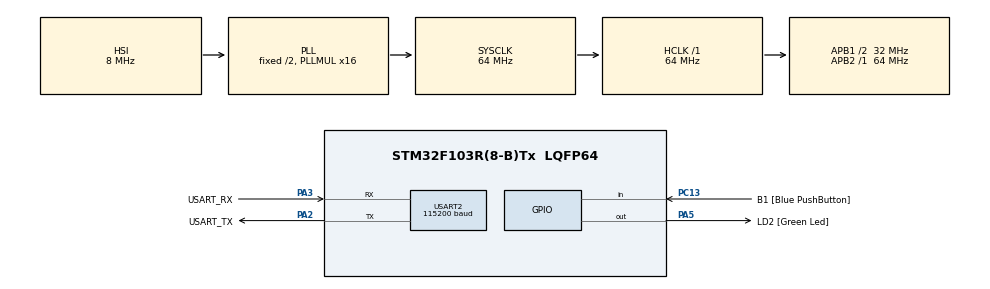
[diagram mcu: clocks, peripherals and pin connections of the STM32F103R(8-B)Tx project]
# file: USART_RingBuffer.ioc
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Mcu.Family=STM32F1
Mcu.Name=STM32F103R(8-B)Tx
Mcu.Package=LQFP64
NVIC.PriorityGroup=NVIC_PRIORITYGROUP_4
NVIC.USART2_IRQn=true\:1\:0\:false\:false\:true\:true\:true\:true
PA13.GPIO_Label=TMS
PA13.Mode=Serial_Wire
PA13.Signal=SYS_JTMS-SWDIO
PA14.GPIO_Label=TCK
PA14.Mode=Serial_Wire
PA14.Signal=SYS_JTCK-SWCLK
PA2.GPIO_Label=USART_TX
PA2.GPIO_Mode=GPIO_MODE_AF_PP
PA2.GPIO_PuPd=GPIO_NOPULL
PA2.GPIO_Speed=GPIO_SPEED_FREQ_LOW
PA2.Mode=Asynchronous
PA2.Signal=USART2_TX
PA3.GPIO_Label=USART_RX
PA3.GPIO_PuPd=GPIO_NOPULL
PA3.GPIO_Speed=GPIO_SPEED_FREQ_LOW
PA3.Mode=Asynchronous
PA3.Signal=USART2_RX
PA5.GPIO_Label=LD2 [Green Led]
PA5.GPIO_ModeDefaultOutputPP=GPIO_MODE_OUTPUT_PP
PA5.GPIO_PuPd=GPIO_NOPULL
PA5.GPIO_Speed=GPIO_SPEED_FREQ_LOW
PA5.Signal=GPIO_Output
PB3.GPIO_Label=SWO
PB3.Signal=SYS_JTDO-TRACESWO
PC13-TAMPER-RTC.GPIO_Label=B1 [Blue PushButton]
PC13-TAMPER-RTC.GPIO_PuPd=GPIO_NOPULL
PC13-TAMPER-RTC.Signal=GPIO_Input
PC14-OSC32_IN.Mode=LSE-External-Oscillator
PC14-OSC32_IN.Signal=RCC_OSC32_IN
PC15-OSC32_OUT.Mode=LSE-External-Oscillator
PC15-OSC32_OUT.Signal=RCC_OSC32_OUT
PD0-OSC_IN.Mode=HSE-External-Clock-Source
PD0-OSC_IN.Signal=RCC_OSC_IN
PD1-OSC_OUT.Mode=HSE-External-Clock-Source
PD1-OSC_OUT.Signal=RCC_OSC_OUT
ProjectManager.HeapSize=0x200
ProjectManager.StackSize=0x400
ProjectManager.TargetToolchain=STM32CubeIDE
RCC.AHBFreq_Value=64000000
RCC.APB1CLKDivider=RCC_HCLK_DIV2
RCC.APB1Freq_Value=32000000
RCC.APB1TimFreq_Value=64000000
RCC.APB2Freq_Value=64000000
RCC.APB2TimFreq_Value=64000000
RCC.HCLKFreq_Value=64000000
RCC.PLLMUL=RCC_PLL_MUL16
RCC.RTCClockSelection=RCC_RTCCLKSOURCE_LSE
RCC.SYSCLKFreq_VALUE=64000000
RCC.SYSCLKSource=RCC_SYSCLKSOURCE_PLLCLK
RCC.USBFreq_Value=64000000
USART2.BaudRate=115200
USART2.VirtualMode=VM_ASYNC
board=NUCLEO-F103RB

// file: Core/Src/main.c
/* USER CODE BEGIN Header */
/**
 ******************************************************************************
 * @file           : main.c
 * @brief          : Main program body
 ******************************************************************************
 * @attention
 *
 * Copyright (c) 2026 STMicroelectronics.
 * All rights reserved.
 *
 * This software is licensed under terms that can be found in the LICENSE file
 * in the root directory of this software component.
 * If no LICENSE file comes with this software, it is provided AS-IS.
 *
 ******************************************************************************
 */
/**
 * 03_USART_RingBuffer_c  —  [계층: HAL]  ISR 이 채우고 main 이 비우는 링 버퍼 (생산자-소비자, lock-free)
 *
 * 문제: 수신 인터럽트는 언제 올지 모르는데 main 루프는 다른 일 중일 수 있다. 데이터를 잃지 않으려면 그 사이를 이어 줄 버퍼가 필요하다.
 *
 * 구조
 *   ISR 문맥(HAL_UART_RxCpltCallback) : 수신한 1바이트를 링 버퍼 head 에 push   (생산자)
 *   main 루프                          : tail 에서 pop 하여 처리                    (소비자)
 *   head 는 생산자만, tail 은 소비자만 쓰므로 단일 생산자/단일 소비자에서는 인터럽트를 막지 않아도 안전하다 (lock-free).
 *   버퍼 크기를 2 의 거듭제곱(128)으로 잡아 인덱스 래핑을 "& (SIZE-1)" 마스크 한 번으로 처리한다.
 *   "가득 참" 판정을 위해 한 칸을 비워 둔다: full 이면 (head+1) & mask == tail,  empty 이면 head == tail
 *
 * 시험 방법 (터미널 115200 8N1)
 *   - 평소: 입력한 글자가 에코되고, 엔터를 칠 때마다 통계 "[rx=N, dropped=M, max_used=K]" 출력
 *   - 오버플로 실험: B1(PC13)을 누르면 main 이 2초간 멈춘다(HAL_Delay). 그 동안 터미널에서 긴 텍스트(127바이트 이상)를
 *     붙여 넣으면 버퍼가 가득 차 dropped 가 늘어나는 것을 확인 -> 버퍼 크기/처리 주기 설계의 필요성
 *
 * 하드웨어 대응: USART2->CR1.RXNEIE, SR.RXNE, DR (HAL_UART_Receive_IT 가 관리). NVIC USART2_IRQn.
 *
 * ISR vs 콜백
 *   USART2_IRQHandler (stm32f1xx_it.c, 진짜 ISR) -> HAL_UART_IRQHandler() -> HAL_UART_RxCpltCallback() (이 파일)
 */
/* USER CODE END Header */
#include "main.h"

/* USER CODE BEGIN Includes */
#include <stdio.h>
#include <string.h>
/* USER CODE END Includes */

/* USER CODE BEGIN PTD */
#define RB_SIZE 128U                      /* 반드시 2 의 거듭제곱 */
#define RB_MASK (RB_SIZE - 1U)

typedef struct {
    volatile uint32_t head;               /* 다음에 쓸 위치 (생산자=ISR 만 수정) */
    volatile uint32_t tail;               /* 다음에 읽을 위치 (소비자=main 만 수정) */
    uint8_t buf[RB_SIZE];
} ringbuf_t;

/* USER CODE END PTD */

UART_HandleTypeDef huart2;

/* USER CODE BEGIN PV */
static ringbuf_t rb;
static uint8_t rx_byte;
static volatile uint32_t rx_total, dropped, max_used;
/* USER CODE END PV */

void SystemClock_Config(void);
static void MX_GPIO_Init(void);
static void MX_USART2_UART_Init(void);

/* USER CODE BEGIN 0 */
static uint32_t rb_used(const ringbuf_t *r) { return (r->head - r->tail) & RB_MASK; }

/* 생산자 측 (ISR 에서 호출). 가득 차면 새 바이트를 버리고 0 반환 */
static int rb_push(ringbuf_t *r, uint8_t b)
{
  uint32_t next = (r->head + 1U) & RB_MASK;
  if (next == r->tail) return 0;        /* full */
  r->buf[r->head] = b;
  r->head = next;                       /* 데이터를 쓴 "뒤에" head 를 갱신해야 소비자가 미완성 데이터를 읽지 않는다 */
  return 1;
}

/* 소비자 측 (main). 비어 있으면 0 반환 */
static int rb_pop(ringbuf_t *r, uint8_t *b)
{
  if (r->head == r->tail) return 0;     /* empty */
  *b = r->buf[r->tail];
  r->tail = (r->tail + 1U) & RB_MASK;
  return 1;
}
/* USER CODE END 0 */

int main(void)
{

  /* USER CODE BEGIN 1 */
  char msg[64];
  uint8_t c;
  /* USER CODE END 1 */

  /* MCU Configuration--------------------------------------------------------*/

  /* Reset of all peripherals, Initializes the Flash interface and the Systick. */
  HAL_Init();

  /* Configure the system clock */
  SystemClock_Config();

  /* Initialize all configured peripherals */
  MX_GPIO_Init();
  MX_USART2_UART_Init();
  /* USER CODE BEGIN 2 */
  const char *banner = "\r\n[ring buffer demo] type text, Enter=stats, B1=stall main 2s\r\n";
  HAL_UART_Transmit(&huart2, (uint8_t *)banner, (uint16_t)strlen(banner), 100);
  HAL_UART_Receive_IT(&huart2, &rx_byte, 1);
  /* USER CODE END 2 */

  /* Infinite loop */
  while (1)
  {

    /* USER CODE BEGIN 3 */
    if (HAL_GPIO_ReadPin(B1_GPIO_Port, B1_Pin) == GPIO_PIN_RESET)   /* GPIOC->IDR bit13 (B1: 누르면 Low) */
    {
      HAL_UART_Transmit(&huart2, (uint8_t *)"[main stalled 2s]\r\n", 19, 100);
      HAL_Delay(2000);              /* 소비자가 멈춘 동안 생산자(ISR)는 계속 push -> 오버플로 가능 */
      while (HAL_GPIO_ReadPin(B1_GPIO_Port, B1_Pin) == GPIO_PIN_RESET) {}
    }

    while (rb_pop(&rb, &c))
    {
      if (c == '\r' || c == '\n')
      {
        int n = snprintf(msg, sizeof msg, "\r\n[rx=%lu, dropped=%lu, max_used=%lu/%lu]\r\n",
                         (unsigned long)rx_total, (unsigned long)dropped,
                         (unsigned long)max_used, (unsigned long)(RB_SIZE - 1U));
        HAL_UART_Transmit(&huart2, (uint8_t *)msg, (uint16_t)n, 100);
      }
      else
      {
        HAL_UART_Transmit(&huart2, &c, 1, 10);   /* 에코 */
      }
    }
  }
  /* USER CODE END 3 */
}

void SystemClock_Config(void)
{
  RCC_OscInitTypeDef RCC_OscInitStruct = {0};
  RCC_ClkInitTypeDef RCC_ClkInitStruct = {0};

  /** Initializes the RCC Oscillators according to the specified parameters
  * in the RCC_OscInitTypeDef structure.
  */
  RCC_OscInitStruct.OscillatorType = RCC_OSCILLATORTYPE_HSI;
  RCC_OscInitStruct.HSIState = RCC_HSI_ON;
  RCC_OscInitStruct.HSICalibrationValue = RCC_HSICALIBRATION_DEFAULT;
  RCC_OscInitStruct.PLL.PLLState = RCC_PLL_ON;
  RCC_OscInitStruct.PLL.PLLSource = RCC_PLLSOURCE_HSI_DIV2;
  RCC_OscInitStruct.PLL.PLLMUL = RCC_PLL_MUL16;
  if (HAL_RCC_OscConfig(&RCC_OscInitStruct) != HAL_OK)
  {
    Error_Handler();
  }

  /** Initializes the CPU, AHB and APB buses clocks
  */
  RCC_ClkInitStruct.ClockType = RCC_CLOCKTYPE_HCLK|RCC_CLOCKTYPE_SYSCLK
                              |RCC_CLOCKTYPE_PCLK1|RCC_CLOCKTYPE_PCLK2;
  RCC_ClkInitStruct.SYSCLKSource = RCC_SYSCLKSOURCE_PLLCLK;
  RCC_ClkInitStruct.AHBCLKDivider = RCC_SYSCLK_DIV1;
  RCC_ClkInitStruct.APB1CLKDivider = RCC_HCLK_DIV2;
  RCC_ClkInitStruct.APB2CLKDivider = RCC_HCLK_DIV1;

  if (HAL_RCC_ClockConfig(&RCC_ClkInitStruct, FLASH_LATENCY_2) != HAL_OK)
  {
    Error_Handler();
  }
}

static void MX_USART2_UART_Init(void)
{

  huart2.Instance = USART2;
  huart2.Init.BaudRate = 115200;
  huart2.Init.WordLength = UART_WORDLENGTH_8B;
  huart2.Init.StopBits = UART_STOPBITS_1;
  huart2.Init.Parity = UART_PARITY_NONE;
  huart2.Init.Mode = UART_MODE_TX_RX;
  huart2.Init.HwFlowCtl = UART_HWCONTROL_NONE;
  huart2.Init.OverSampling = UART_OVERSAMPLING_16;
  if (HAL_UART_Init(&huart2) != HAL_OK)
  {
    Error_Handler();
  }

}

static void MX_GPIO_Init(void)
{
  GPIO_InitTypeDef GPIO_InitStruct = {0};

  /* GPIO Ports Clock Enable */
  __HAL_RCC_GPIOC_CLK_ENABLE();
  __HAL_RCC_GPIOD_CLK_ENABLE();
  __HAL_RCC_GPIOA_CLK_ENABLE();
  __HAL_RCC_GPIOB_CLK_ENABLE();

  /*Configure GPIO pin Output Level */
  HAL_GPIO_WritePin(LD2_GPIO_Port, LD2_Pin, GPIO_PIN_RESET);

  /*Configure GPIO pin : B1_Pin */
  GPIO_InitStruct.Pin = B1_Pin;
  GPIO_InitStruct.Mode = GPIO_MODE_INPUT;
  GPIO_InitStruct.Pull = GPIO_NOPULL;
  HAL_GPIO_Init(B1_GPIO_Port, &GPIO_InitStruct);

  /*Configure GPIO pin : LD2_Pin */
  GPIO_InitStruct.Pin = LD2_Pin;
  GPIO_InitStruct.Mode = GPIO_MODE_OUTPUT_PP;
  GPIO_InitStruct.Pull = GPIO_NOPULL;
  GPIO_InitStruct.Speed = GPIO_SPEED_FREQ_LOW;
  HAL_GPIO_Init(LD2_GPIO_Port, &GPIO_InitStruct);

}

/* USER CODE BEGIN 4 */
/* ------------------------------------------------------------------------- */
/* HAL 콜백 (ISR 문맥): 1바이트 수신 완료 -> 링 버퍼에 push 후 재무장                */
/* ------------------------------------------------------------------------- */
void HAL_UART_RxCpltCallback(UART_HandleTypeDef *huart)
{
  if (huart->Instance != USART2) return;
  rx_total++;
  if (!rb_push(&rb, rx_byte)) dropped++;
  uint32_t u = rb_used(&rb);
  if (u > max_used) max_used = u;
  HAL_UART_Receive_IT(&huart2, &rx_byte, 1);
}

void HAL_UART_ErrorCallback(UART_HandleTypeDef *huart)      /* 오버런(ORE) 등: 수신 재시작 */
{
  if (huart->Instance == USART2) HAL_UART_Receive_IT(&huart2, &rx_byte, 1);
}
/* USER CODE END 4 */

void Error_Handler(void)
{
  __disable_irq();
  while (1) {
  }
}
#ifdef USE_FULL_ASSERT
/**
  * @brief  Reports the name of the source file and the source line number
  *         where the assert_param error has occurred.
  * @param  file: pointer to the source file name
  * @param  line: assert_param error line source number
  * @retval None
  */
void assert_failed(uint8_t *file, uint32_t line)
{
  /* USER CODE BEGIN 6 */
  /* User can add his own implementation to report the file name and line
     number, ex: printf("Wrong parameters value: file %s on line %d\r\n", file,
     line) */
  /* USER CODE END 6 */
}
#endif /* USE_FULL_ASSERT */
